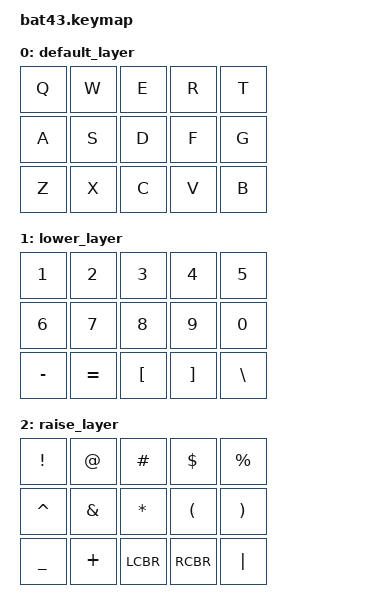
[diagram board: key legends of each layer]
/ {
    keymap {
        compatible = "zmk,keymap";

        default_layer {
            bindings = <
                &kp Q  &kp W  &kp E  &kp R  &kp T
                &kp A  &kp S  &kp D  &kp F  &kp G
                &kp Z  &kp X  &kp C  &kp V  &kp B
            >;
        };

        lower_layer {
            bindings = <
                &kp 1  &kp 2  &kp 3  &kp 4  &kp 5
                &kp 6  &kp 7  &kp 8  &kp 9  &kp 0
                &kp MINUS &kp EQUAL &kp LBKT &kp RBKT &kp BSLH
            >;
        };

        raise_layer {
            bindings = <
                &kp EXCL &kp AT   &kp HASH &kp DLLR &kp PRCNT
                &kp CARET &kp AMPS &kp STAR &kp LPAR &kp RPAR
                &kp UNDERSCORE &kp PLUS &kp LCBR &kp RCBR &kp PIPE
            >;
        };
    };
};
